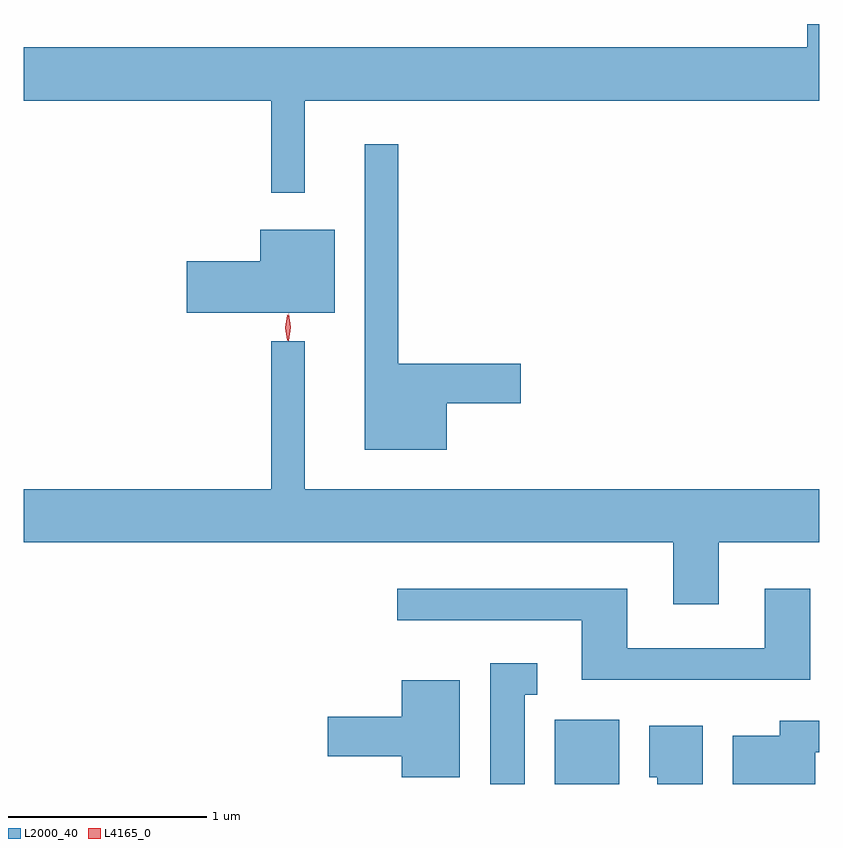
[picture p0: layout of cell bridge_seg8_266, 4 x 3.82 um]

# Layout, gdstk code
import gdstk
lib = gdstk.Library(unit=1e-6, precision=1e-09)
def R(c, l, rs):  # rectangles x0, y0, x1, y1
    for r in rs: c.add(gdstk.rectangle(r[:2], r[2:], *l))
def P(c, l, *ps):  # polygons
    for p in ps: c.add(gdstk.Polygon(p, *l))
L2000_40 = (2000, 40)
L4165_0 = (4165, 0)

bridge_seg8_266 = lib.new_cell('bridge_seg8_266')
R(bridge_seg8_266, L2000_40, [(1051.126,1806.342,1051.449,1806.664)])
P(bridge_seg8_266, L2000_40, [(1049.869,1809.776),(1052.456,1809.776),(1052.456,1810.162),(1052.396,1810.162),(1052.396,1810.044),(1048.456,1810.044),(1048.456,1809.776),(1049.701,1809.776),(1049.701,1809.313),(1049.869,1809.313)],
  [(1050.584,1808.256),(1050.954,1808.256),(1050.954,1808.454),(1050.339,1808.454),(1050.339,1809.558),(1050.171,1809.558),(1050.171,1808.021),(1050.584,1808.021)],
  [(1050.019,1809.129),(1049.646,1809.129),(1049.646,1808.969),(1049.276,1808.969),(1049.276,1808.711),(1050.019,1808.711)],
  [(1051.949,1807.556),(1052.456,1807.556),(1052.456,1807.824),(1049.869,1807.824),(1049.869,1808.568),(1049.701,1808.568),(1049.701,1807.824),(1048.456,1807.824),(1048.456,1807.556),(1051.721,1807.556),(1051.721,1807.246),(1051.949,1807.246)],
  [(1052.409,1807.324),(1052.181,1807.324),(1052.181,1807.024),(1051.489,1807.024),(1051.489,1807.324),(1050.333,1807.324),(1050.333,1807.166),(1051.261,1807.166),(1051.261,1806.866),(1052.409,1806.866)],
  [(1050.974,1806.791),(1051.038,1806.791),(1051.038,1806.949),(1050.801,1806.949),(1050.801,1806.342),(1050.974,1806.342)],
  [(1050.649,1806.864),(1050.356,1806.864),(1050.356,1806.679),(1049.986,1806.679),(1049.986,1806.481),(1050.356,1806.481),(1050.356,1806.376),(1050.649,1806.376)],
  [(1052.434,1806.501),(1052.456,1806.501),(1052.456,1806.659),(1052.256,1806.659),(1052.256,1806.584),(1052.021,1806.584),(1052.021,1806.342),(1052.434,1806.342)],
  [(1051.869,1806.634),(1051.601,1806.634),(1051.601,1806.376),(1051.641,1806.376),(1051.641,1806.342),(1051.869,1806.342)])
P(bridge_seg8_266, L4165_0, [(1049.787,1808.57),(1049.778,1808.638),(1049.789,1808.705),(1049.789,1808.706),(1049.79,1808.705),(1049.798,1808.638),(1049.788,1808.57),(1049.788,1808.57)],
  [(1049.782,1808.573),(1049.782,1808.573),(1049.772,1808.636),(1049.782,1808.699),(1049.782,1808.7),(1049.783,1808.699),(1049.792,1808.636),(1049.783,1808.573)])

lib.write_gds('bridge_seg8_266.gds')
